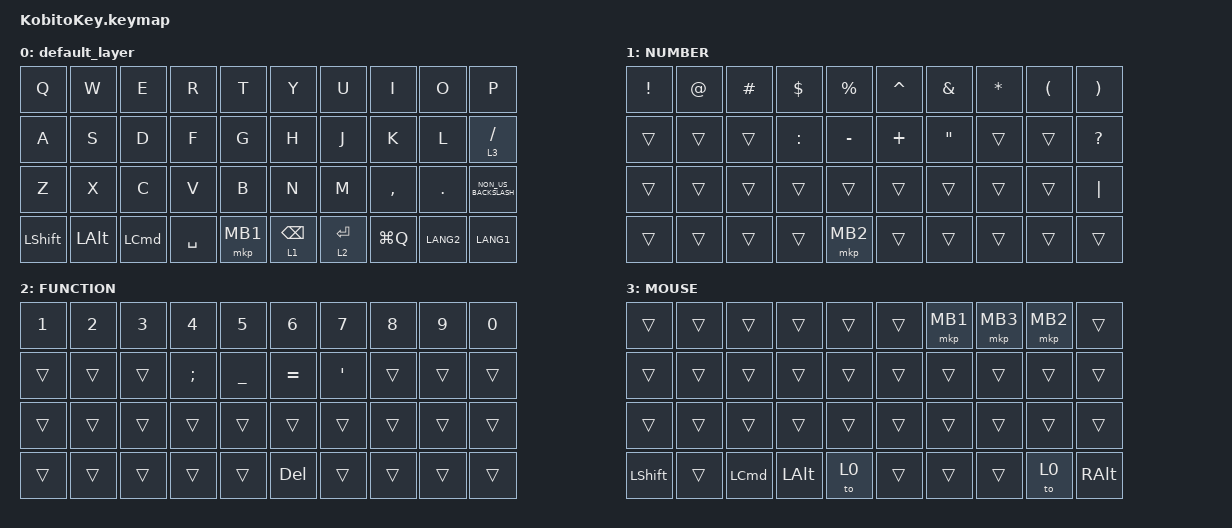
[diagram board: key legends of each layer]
#include <input/processors.dtsi>
#include <behaviors.dtsi>
#include <dt-bindings/zmk/keys.h>
#include <dt-bindings/zmk/pointing.h>

/ {
    combos {
        compatible = "zmk,combos";

        combo_eisu {
            timeout-ms = <50>;
            key-positions = <12 13>;
            bindings = <&kp LANG2>;
        };

        combo_kana {
            timeout-ms = <50>;
            key-positions = <16 17>;
            bindings = <&kp LANG1>;
        };

        combo_esc {
            timeout-ms = <50>;
            key-positions = <0 1>;
            bindings = <&kp ESC>;
        };

        combo_tab {
            timeout-ms = <50>;
            key-positions = <10 11>;
            bindings = <&kp TAB>;
        };
    };

    keymap {
        compatible = "zmk,keymap";

        default_layer {
            bindings = <
&kp Q      &kp W     &kp E             &kp R      &kp T     &kp Y            &kp U        &kp I      &kp O      &kp P
&kp A      &kp S     &kp D             &kp F      &kp G     &kp H            &kp J        &kp K      &kp L      &lt 3 SLASH
&kp Z      &kp X     &kp C             &kp V      &kp B     &kp N            &kp M        &kp COMMA  &kp DOT    &kp NON_US_BACKSLASH
&kp LSHFT  &kp LALT  &kp LEFT_COMMAND  &kp SPACE  &mkp MB1  &lt 1 BACKSPACE  &lt 2 ENTER  &kp LG(Q)  &kp LANG2  &kp LANG1
            >;
        };

        layer1 {
            label = "NUMBER";
            bindings = <
&kp EXCLAMATION  &kp AT_SIGN  &kp HASH  &kp DOLLAR  &kp PERCENT  &kp CARET  &kp AMPERSAND      &kp ASTERISK  &kp LEFT_PARENTHESIS  &kp RIGHT_PARENTHESIS
&trans           &trans       &trans    &kp COLON   &kp MINUS    &kp PLUS   &kp DOUBLE_QUOTES  &trans        &trans                &kp QUESTION
&trans           &trans       &trans    &trans      &trans       &trans     &trans             &trans        &trans                &kp PIPE
&trans           &trans       &trans    &trans      &mkp MB2     &trans     &trans             &trans        &trans                &trans
            >;
        };

        layer2 {
            label = "FUNCTION";
            bindings = <
&kp N1  &kp N2  &kp N3  &kp N4         &kp N5          &kp N6     &kp N7   &kp N8  &kp N9  &kp N0
&trans  &trans  &trans  &kp SEMICOLON  &kp UNDERSCORE  &kp EQUAL  &kp SQT  &trans  &trans  &trans
&trans  &trans  &trans  &trans         &trans          &trans     &trans   &trans  &trans  &trans
&trans  &trans  &trans  &trans         &trans          &kp DEL    &trans   &trans  &trans  &trans
            >;
        };

        layer3 {
            label = "MOUSE";
            bindings = <
&trans     &trans  &trans    &trans    &trans  &trans  &mkp MB1  &mkp MB3  &mkp MB2  &trans
&trans     &trans  &trans    &trans    &trans  &trans  &trans    &trans    &trans    &trans
&trans     &trans  &trans    &trans    &trans  &trans  &trans    &trans    &trans    &trans
&kp LSHFT  &trans  &kp LCMD  &kp LALT  &to 0   &trans  &trans    &trans    &to 0     &kp RALT
            >;
        };
    };
};
